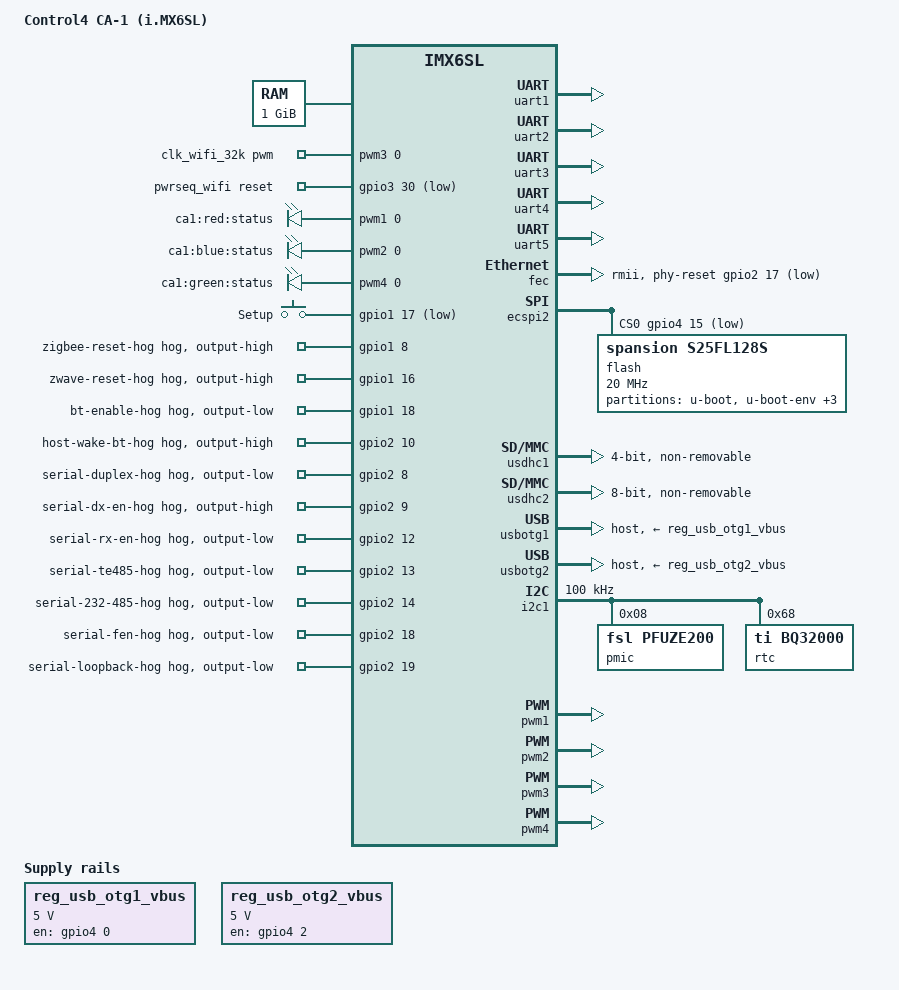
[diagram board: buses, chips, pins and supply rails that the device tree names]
// SPDX-License-Identifier: GPL-2.0
/*
 * openHC — Control4 CA-1 controller (i.MX6 SoloLite, board codename "emmet").
 *
 * Reconstructed for a MAINLINE kernel from the vendor DTB pulled off a live
 * rev-4 unit (c4-imx6sl-0-4.dtb, kernel 4.1.52-2.180.29). Full derivation and
 * the evidence behind every claim here: docs/ca1-recon.md.
 *
 * Deliberate differences from the vendor tree, all of them deletions or fixes:
 *
 *  - The vendor DT keeps `compatible = "fsl,imx6sl-evk"` and drags along the
 *    whole EVK reference description. The elan-touch digitiser, the mma8450
 *    accelerometer, the max17135 E-ink PMIC and the EPDC are NOT on this board.
 *    They are gone here.
 *  - usdhc1/usdhc2 carried cd-gpios/wp-gpios. There is no card slot and no
 *    write-protect switch; both are soldered parts. Gone, replaced with
 *    non-removable.
 *  - The vendor bus-width properties are backwards relative to the pin groups
 *    (it claims usdhc1 is 8-bit and usdhc2 is 4-bit). The pins win: usdhc1 is
 *    4-bit SDIO Wi-Fi, usdhc2 is 8-bit eMMC.
 *  - The out-of-tree shims are re-expressed in mainline bindings:
 *      "pwm-control"             (32 kHz Wi-Fi clock)  -> pwm-clock
 *      "control4,usb-overcurrent"(USB port power/OC)   -> regulator-fixed
 *
 * STATUS: NOT YET BOOTED. This compiles as a description but no one has run it.
 *
 * The fsl,pins entries below are raw 6-tuples
 * <mux_reg conf_reg input_reg mux_mode input_val pad_ctrl> copied out of the
 * vendor DTB rather than MX6SL_PAD_* macros from imx6sl-pinfunc.h. The values
 * are correct — the macros expand to exactly these first five fields — but
 * converting them to symbolic names is an owed readability cleanup, and until
 * that happens the individual pads are not self-documenting.
 */

/dts-v1/;

#include <dt-bindings/gpio/gpio.h>
#include <dt-bindings/input/input.h>
/*
 * Vendor-subdirectory path on purpose. Since Linux 6.5 the ARM DTS tree is
 * split by vendor (arch/arm/boot/dts/nxp/imx/), but Buildroot copies a
 * BR2_LINUX_KERNEL_CUSTOM_DTS_PATH file into arch/arm/boot/dts/ itself. A bare
 * "imx6sl.dtsi" therefore does not resolve from where this file actually sits.
 * Verified by building this against a real 7.1.8 tree.
 */
#include "nxp/imx/imx6sl.dtsi"

/ {
	model = "Control4 CA-1 (i.MX6SL)";
	compatible = "control4,ca1", "fsl,imx6sl";

	chosen {
		stdout-path = &uart1;
	};

	memory@80000000 {
		device_type = "memory";
		reg = <0x80000000 0x40000000>;	/* 1 GB */
	};

	/*
	 * The vendor tree reserves 320 MB of CMA for the EPDC/PXP display path
	 * this product does not use. A headless openHC image does not need it;
	 * the kernel default is left in place instead.
	 */

	reg_usb_otg1_vbus: regulator-usb-otg1-vbus {
		compatible = "regulator-fixed";
		regulator-name = "usb_otg1_vbus";
		regulator-min-microvolt = <5000000>;
		regulator-max-microvolt = <5000000>;
		gpio = <&gpio4 0 GPIO_ACTIVE_HIGH>;
		enable-active-high;
	};

	reg_usb_otg2_vbus: regulator-usb-otg2-vbus {
		compatible = "regulator-fixed";
		regulator-name = "usb_otg2_vbus";
		regulator-min-microvolt = <5000000>;
		regulator-max-microvolt = <5000000>;
		gpio = <&gpio4 2 GPIO_ACTIVE_HIGH>;
		enable-active-high;
	};

	/*
	 * The RTL8723BS needs a 32.768 kHz slow clock. On this board it is
	 * generated by PWM3 — the vendor node is `wireless-pwm-32K` with
	 * compatible = "pwm-control", an out-of-tree driver. pwm-clock is the
	 * mainline equivalent.
	 */
	clk_wifi_32k: wifi-32k-clock {
		compatible = "pwm-clock";
		#clock-cells = <0>;
		clock-frequency = <32768>;
		pwms = <&pwm3 0 30518 0>;	/* 30518 ns ~= 32.768 kHz */
	};

	/* wifi_enable, GPIO 94 (bank 3 pin 30) in the vendor's numbering. */
	pwrseq_wifi: pwrseq-wifi {
		compatible = "mmc-pwrseq-simple";
		reset-gpios = <&gpio3 30 GPIO_ACTIVE_LOW>;
		clocks = <&clk_wifi_32k>;
		clock-names = "ext_clock";
		post-power-on-delay-ms = <200>;
	};

	leds {
		compatible = "pwm-leds";

		led-red {
			label = "ca1:red:status";
			pwms = <&pwm1 0 24000000 0>;
			max-brightness = <255>;
		};

		led-blue {
			label = "ca1:blue:status";
			pwms = <&pwm2 0 24000000 0>;
			max-brightness = <255>;
		};

		led-green {
			label = "ca1:green:status";
			pwms = <&pwm4 0 24000000 0>;
			max-brightness = <255>;
		};
	};

	gpio-keys {
		compatible = "gpio-keys";

		/* Front setup/identify button. Vendor emits KEY_F5. */
		key-setup {
			label = "Setup";
			linux,code = <KEY_F5>;
			gpios = <&gpio1 17 GPIO_ACTIVE_LOW>;
		};
	};
};

/*
 * Named lines + boot state, reproducing /etc/init.d/c4gpio on the stock unit —
 * which is the entire board bring-up sequence there (plain sysfs exports
 * symlinked into /dev/gpio).
 *
 * The names come from gpio-line-names so `gpiofind zwave_module` works from the
 * rootfs. The *values* are gpio-hogs rather than something an init script sets,
 * because a userspace `gpioset` releases the line when it exits and the pin
 * reverts to input — the state would not survive the script that applied it.
 * Sysfs would persist, but it is deprecated and gone on a modern kernel.
 *
 * Consequence to be aware of: a hogged line cannot be claimed by userspace
 * later. That is fine today because nothing in the bring-up image drives them,
 * and it keeps the RS-485 transceiver in a defined state instead of floating.
 * When RS-485 direction control lands it will have to convert the four
 * serial_* direction hogs into a real consumer (a uart rs485 binding, or a
 * line-holding daemon) rather than adding a second writer.
 *
 * eth_phy_reset (gpio2 17) and wifi_enable (gpio3 30) are deliberately NOT
 * hogged: they are claimed by &fec and by pwrseq_wifi respectively, and a hog
 * would take the line out from under those drivers.
 */
&gpio1 {
	gpio-line-names =
		"", "", "", "", "", "", "", "",
		"zigbee_reset", "", "", "", "", "", "", "",
		"zwave_reset", "setup_button", "bt_enable", "", "", "", "", "",
		"", "", "", "", "", "", "", "";

	zigbee-reset-hog {
		gpio-hog;
		gpios = <8 GPIO_ACTIVE_HIGH>;
		output-high;		/* reset released */
	};

	zwave-reset-hog {
		gpio-hog;
		gpios = <16 GPIO_ACTIVE_HIGH>;
		output-high;		/* reset released */
	};

	bt-enable-hog {
		gpio-hog;
		gpios = <18 GPIO_ACTIVE_HIGH>;
		output-low;
	};
};

&gpio2 {
	gpio-line-names =
		"", "", "", "", "", "", "", "bt_wake_host",
		"serial_duplex", "serial_dx_en", "host_wake_bt", "",
		"serial_rx_en", "serial_te485", "serial_232_485", "",
		"", "eth_phy_reset", "serial_fen", "serial_loopback",
		"", "", "", "", "", "", "", "", "", "", "", "";

	host-wake-bt-hog {
		gpio-hog;
		gpios = <10 GPIO_ACTIVE_HIGH>;
		output-high;
	};

	/* RS-232/RS-485 transceiver, held in the stock boot configuration:
	 * RS-232, full duplex, driver enabled, receiver off, no loopback. */
	serial-duplex-hog {
		gpio-hog;
		gpios = <8 GPIO_ACTIVE_HIGH>;
		output-low;
	};

	serial-dx-en-hog {
		gpio-hog;
		gpios = <9 GPIO_ACTIVE_HIGH>;
		output-high;
	};

	serial-rx-en-hog {
		gpio-hog;
		gpios = <12 GPIO_ACTIVE_HIGH>;
		output-low;
	};

	serial-te485-hog {
		gpio-hog;
		gpios = <13 GPIO_ACTIVE_HIGH>;
		output-low;
	};

	serial-232-485-hog {
		gpio-hog;
		gpios = <14 GPIO_ACTIVE_HIGH>;
		output-low;		/* RS-232 */
	};

	serial-fen-hog {
		gpio-hog;
		gpios = <18 GPIO_ACTIVE_HIGH>;
		output-low;
	};

	serial-loopback-hog {
		gpio-hog;
		gpios = <19 GPIO_ACTIVE_HIGH>;
		output-low;
	};
};

&gpio3 {
	/* zwave_module is an input: high means a Z-Wave module is fitted. */
	gpio-line-names =
		"", "", "", "", "", "", "", "",
		"", "", "", "", "", "", "", "",
		"", "", "", "", "", "", "", "",
		"", "", "", "", "zwave_module", "", "wifi_enable", "";
};

/* ── UART1 → ttymxc0: the console ─────────────────────────────────────── */
&uart1 {
	pinctrl-names = "default";
	pinctrl-0 = <&pinctrl_uart1>;
	status = "okay";
};

/* ── UART2 → ttymxc1: unused on this board, brought up for completeness ── */
&uart2 {
	pinctrl-names = "default";
	pinctrl-0 = <&pinctrl_uart2>;
	uart-has-rtscts;
	status = "okay";
};

/*
 * ── UART3 → ttymxc2: the rear RS-232/RS-485 combo port ─────────────────
 * On the EA family this port hangs off a TM4C IO-MCU and there is no host
 * tty for it. Here it is a plain i.MX UART in front of a transceiver that
 * seven GPIOs reconfigure. linux,rs485-enabled-at-boot-time is deliberately
 * NOT set — the port defaults to RS-232, matching the vendor boot state
 * (serial_232_485 = 0).
 */
&uart3 {
	pinctrl-names = "default";
	pinctrl-0 = <&pinctrl_uart3>;
	uart-has-rtscts;
	status = "okay";
};

/* ── UART4 → ttymxc3: Z-Wave, Sigma Designs ZM5304 (no flow control) ───── */
&uart4 {
	pinctrl-names = "default";
	pinctrl-0 = <&pinctrl_uart4>;
	status = "okay";
};

/*
 * ── UART5 → ttymxc4: Zigbee NCP (EM35x, RTS/CTS) ───────────────────────
 * The part is unconfirmed: on the recon unit this NCP returned nothing to an
 * EZSP/ASH reset at any baud, with or without flow control, before or after
 * pulsing zigbee_reset. See docs/ca1-recon.md.
 */
&uart5 {
	pinctrl-names = "default";
	pinctrl-0 = <&pinctrl_uart5>;
	uart-has-rtscts;
	status = "okay";
};

/*
 * ── Ethernet: FEC, RMII, PHY reset on GPIO 49 (bank 2 pin 17) ──────────
 * The reset needs a POST-DELAY. Confirmed on hardware 2026-08-18: with only
 * phy-reset-duration and no post-delay, the FEC deasserts reset and immediately
 * scans MDIO — before the PHY has come out of reset — so every address reads
 * phy_id=0x00000000, the kernel falls back to a "Generic Clause 45 PHY", and
 * eth0 never gets carrier. (It worked once on a warm boot where the PHY was
 * still initialised from the stock boot; it fails on a cold power-on.) The
 * vendor DTB carried NO phy-reset-gpios at all — Control4 reset the PHY from
 * its c4gpio userspace init (drove eth_phy_reset high), so the driver saw an
 * already-settled PHY. We keep the reset in-driver but give the PHY time to
 * wake: phy-reset-post-delay is the ms the FEC waits after deassert before it
 * touches MDIO. Auto-scan (no phy-handle) matches the vendor tree, which found
 * the PHY without naming its address.
 */
&fec {
	pinctrl-names = "default";
	pinctrl-0 = <&pinctrl_fec>;
	phy-mode = "rmii";
	phy-reset-gpios = <&gpio2 17 GPIO_ACTIVE_LOW>;
	phy-reset-duration = <20>;
	phy-reset-post-delay = <100>;
	status = "okay";
};

/* ── SPI-NOR: Spansion S25FL128S, 16 MB, holds U-Boot + recovery kernel ── */
&ecspi2 {
	pinctrl-names = "default";
	pinctrl-0 = <&pinctrl_ecspi2>;
	/*
	 * The vendor tree declares this ACTIVE_HIGH; the old spi-imx inverted
	 * chip-select internally and ignored the flag. Mainline honours it, and
	 * the line is active low.
	 */
	cs-gpios = <&gpio4 15 GPIO_ACTIVE_LOW>;
	status = "okay";

	flash@0 {
		compatible = "spansion,s25fl128s", "jedec,spi-nor";
		reg = <0>;
		spi-max-frequency = <20000000>;
		#address-cells = <1>;
		#size-cells = <1>;

		/*
		 * Layout matches U-Boot's own mtdparts. Writing u-boot or
		 * either environment bricks the board if it goes wrong — the
		 * openHC bring-up path does not touch this chip at all, it
		 * boots from the eMMC FAT partition.
		 */
		partitions {
			compatible = "fixed-partitions";
			#address-cells = <1>;
			#size-cells = <1>;

			partition@0 {
				label = "u-boot";
				reg = <0x000000 0x0f0000>;
			};

			partition@f0000 {
				label = "u-boot-env";
				reg = <0x0f0000 0x010000>;
			};

			partition@100000 {
				label = "recovery-kernel";
				reg = <0x100000 0xc00000>;
			};

			partition@d00000 {
				label = "reserved";
				reg = <0xd00000 0x2f0000>;
			};

			partition@ff0000 {
				label = "u-boot-env-redundant";
				reg = <0xff0000 0x010000>;
			};
		};
	};
};

/* ── usdhc1: SDIO, Realtek RTL8723BS Wi-Fi + Bluetooth (4-bit) ─────────── */
&usdhc1 {
	pinctrl-names = "default";
	pinctrl-0 = <&pinctrl_usdhc1>;
	bus-width = <4>;
	non-removable;
	keep-power-in-suspend;
	wakeup-source;
	mmc-pwrseq = <&pwrseq_wifi>;
	status = "okay";
};

/* ── usdhc2: eMMC, Micron M62704, 3.7 GB (8-bit) — the root device ─────── */
&usdhc2 {
	pinctrl-names = "default";
	pinctrl-0 = <&pinctrl_usdhc2>;
	bus-width = <8>;
	non-removable;
	keep-power-in-suspend;
	status = "okay";
};

/*
 * The two rear USB host ports. `disable-over-current` is correct but lossy:
 * the vendor's control4,usb-overcurrent driver watched a separate gpio_oc line
 * per port (gpio4 1 and gpio4 3), which is NOT the controller's own OC input,
 * so the chipidea OC detection has to be off or it misreads its pin. The
 * upshot is that over-current is currently UNMONITORED — the ports still power
 * down in hardware, but nothing tells the kernel. Wiring gpio4 1/3 up as
 * interrupts is follow-up work.
 */
&usbotg1 {
	vbus-supply = <&reg_usb_otg1_vbus>;
	dr_mode = "host";
	disable-over-current;
	status = "okay";
};

&usbotg2 {
	vbus-supply = <&reg_usb_otg2_vbus>;
	dr_mode = "host";
	disable-over-current;
	status = "okay";
};

&i2c1 {
	clock-frequency = <100000>;
	pinctrl-names = "default";
	pinctrl-0 = <&pinctrl_i2c1>;
	status = "okay";

	pmic@8 {
		/* The chip is a PFUZE200 (U-Boot: "Found PFUZE200 deviceid=11"), not a
		 * PFUZE100. With the wrong compatible the driver rejects it
		 * ("unrecognized pfuze chip ID") and registers no regulators, which can
		 * stall any driver that waits on a pfuze supply during boot. */
		compatible = "fsl,pfuze200";
		reg = <0x08>;
	};

	rtc@68 {
		compatible = "ti,bq32000";
		reg = <0x68>;
	};
};

&pwm1 { pinctrl-names = "default"; pinctrl-0 = <&pinctrl_pwm1>; status = "okay"; };
&pwm2 { pinctrl-names = "default"; pinctrl-0 = <&pinctrl_pwm2>; status = "okay"; };
&pwm3 { pinctrl-names = "default"; pinctrl-0 = <&pinctrl_pwm3>; status = "okay"; };
&pwm4 { pinctrl-names = "default"; pinctrl-0 = <&pinctrl_pwm4>; status = "okay"; };

&iomuxc {
	pinctrl_uart1: uart1grp {
		fsl,pins = <
			0x298 0x5a0 0x7fc 0x0 0x0 0x1b0b1
			0x29c 0x5a4 0x000 0x0 0x0 0x1b0b1
		>;
	};

	pinctrl_uart2: uart2grp {
		fsl,pins = <
			0x0a0 0x390 0x804 0x1 0x0 0x1b0b1
			0x0a4 0x394 0x000 0x1 0x0 0x1b0b1
			0x0a8 0x398 0x800 0x1 0x0 0x1b0b1
			0x0ac 0x39c 0x000 0x1 0x0 0x1b0b1
		>;
	};

	pinctrl_uart3: uart3grp {
		fsl,pins = <
			0x120 0x410 0x80c 0x2 0x4 0x1b0b1
			0x124 0x414 0x000 0x2 0x0 0x1b0b1
			0x088 0x378 0x808 0x2 0x2 0x1b0b1
			0x08c 0x37c 0x000 0x2 0x0 0x1b0b1
		>;
	};

	pinctrl_uart4: uart4grp {
		fsl,pins = <
			0x1a4 0x4ac 0x000 0x1 0x0 0x1b0b1
			0x184 0x48c 0x814 0x1 0x2 0x1b0b1
		>;
	};

	pinctrl_uart5: uart5grp {
		fsl,pins = <
			0x070 0x360 0x81c 0x2 0x1 0x1b0b1
			0x06c 0x35c 0x000 0x2 0x0 0x1b0b1
			0x068 0x358 0x818 0x2 0x0 0x1b0b1
			0x074 0x364 0x000 0x2 0x0 0x1b0b1
		>;
	};

	/*
	 * Last two entries are mux mode 5 (GPIO) rather than FEC signals —
	 * the vendor group carries the PHY reset and one more control line
	 * inside the fec pinmux group.
	 */
	pinctrl_fec: fecgrp {
		fsl,pins = <
			0x12c 0x41c 0x000 0x0 0x0 0x1b0b0
			0x130 0x420 0x6f4 0x0 0x1 0x1b0b0
			0x128 0x418 0x704 0x0 0x1 0x1b0b0
			0x13c 0x42c 0x6f8 0x0 0x0 0x1b0b0
			0x140 0x430 0x6fc 0x0 0x1 0x1b0b0
			0x148 0x438 0x000 0x0 0x0 0x1b0b0
			0x14c 0x43c 0x000 0x0 0x0 0x1b0b0
			0x150 0x440 0x000 0x0 0x0 0x1b0b0
			0x134 0x424 0x000 0x0 0x0 0x4001b0a8
			0x144 0x434 0x000 0x5 0x0 0x1b0b0
			0x138 0x428 0x000 0x5 0x0 0x1b0b0
		>;
	};

	pinctrl_ecspi2: ecspi2grp {
		fsl,pins = <
			0x078 0x368 0x6a0 0x0 0x0 0x100b1
			0x07c 0x36c 0x6a4 0x0 0x0 0x100b1
			0x080 0x370 0x69c 0x0 0x0 0x100b1
			0x084 0x374 0x000 0x5 0x0 0x80000000
		>;
	};

	pinctrl_i2c1: i2c1grp {
		fsl,pins = <
			0x15c 0x44c 0x71c 0x0 0x2 0x4001b8b1
			0x160 0x450 0x720 0x0 0x2 0x4001b8b1
		>;
	};

	/* 6 pins: CLK, CMD, DAT0-3 — 4-bit, despite the vendor bus-width. */
	pinctrl_usdhc1: usdhc1grp {
		fsl,pins = <
			0x230 0x538 0x000 0x0 0x0 0x17059
			0x22c 0x534 0x000 0x0 0x0 0x10059
			0x234 0x53c 0x000 0x0 0x0 0x17059
			0x238 0x540 0x000 0x0 0x0 0x17059
			0x23c 0x544 0x000 0x0 0x0 0x17059
			0x240 0x548 0x000 0x0 0x0 0x17059
		>;
	};

	/* 10 pins: CLK, CMD, DAT0-7 — 8-bit eMMC. */
	pinctrl_usdhc2: usdhc2grp {
		fsl,pins = <
			0x258 0x560 0x000 0x0 0x0 0x17059
			0x254 0x55c 0x000 0x0 0x0 0x10059
			0x25c 0x564 0x000 0x0 0x0 0x17059
			0x260 0x568 0x000 0x0 0x0 0x17059
			0x264 0x56c 0x000 0x0 0x0 0x17059
			0x268 0x570 0x000 0x0 0x0 0x17059
			0x26c 0x574 0x000 0x0 0x0 0x17059
			0x270 0x578 0x000 0x0 0x0 0x17059
			0x274 0x57c 0x000 0x0 0x0 0x17059
			0x278 0x580 0x000 0x0 0x0 0x17059
		>;
	};

	pinctrl_pwm1: pwm1grp {
		fsl,pins = <0x108 0x3f8 0x000 0x2 0x0 0x110b0>;
	};

	pinctrl_pwm2: pwm2grp {
		fsl,pins = <0x1b4 0x4bc 0x000 0x3 0x0 0x110b0>;
	};

	pinctrl_pwm3: pwm3grp {
		fsl,pins = <0x100 0x3f0 0x000 0x2 0x0 0x110b0>;
	};

	pinctrl_pwm4: pwm4grp {
		fsl,pins = <0x104 0x3f4 0x000 0x2 0x0 0x110b0>;
	};
};
